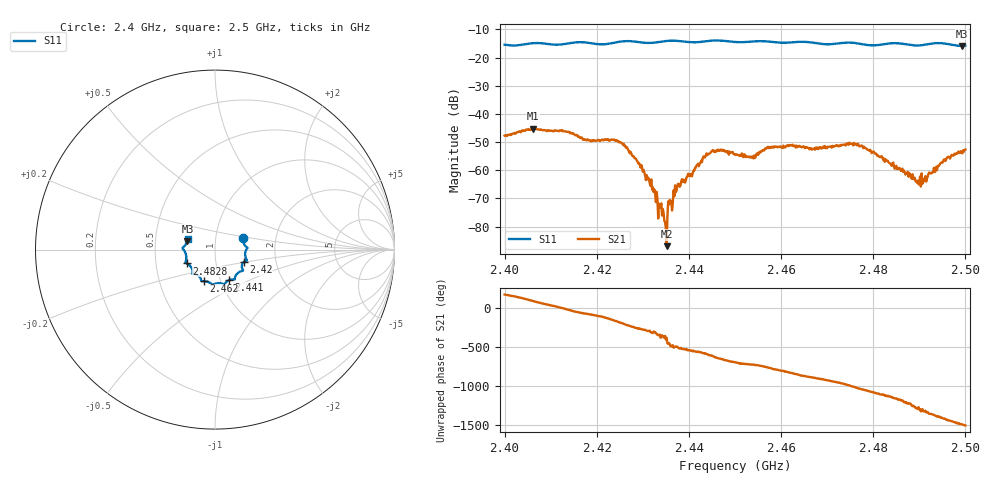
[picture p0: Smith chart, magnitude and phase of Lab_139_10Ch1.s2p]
# Hz S RI R 50
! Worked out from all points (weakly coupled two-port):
!   601 points, 2.4 GHz to 2.5 GHz, reference 50 ohm
!   highest |S21| = -45.21 dB at 2.4062 GHz (marker M1); lowest = -86.9 dB at 2.4352 GHz (marker M2)
!   lowest |S11| = -15.8 dB at 2.4992 GHz (marker M3), VSWR 1.38, Z = 36.5 + j3.66 ohm
!   |S11| at or under -10 dB: start of sweep to end of sweep
!   S12 and S22 are empty: the file has one direction only
!   S11 on the Smith chart (normalised r, x): 2.4 GHz: 1.36, +0.18; 2.42 GHz: 1.36, -0.20; 2.441 GHz: 1.10, -0.39; 2.462 GHz: 0.84, -0.30; 2.4828 GHz: 0.72, -0.11; 2.5 GHz: 0.73, +0.09
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2.4e9  0.1571 0.0632  -0.00401 0.000908  0 0  0 0
2.406167e9  0.1798 0.0117  0.000629 0.00545  0 0  0 0
2.416667e9  0.1779 -0.0598  0.00144 -0.00355  0 0  0 0
2.42e9  0.1594 -0.0695  -0.000789 -0.00325  0 0  0 0
2.426333e9  0.1568 -0.1175  -0.00194 0.00161  0 0  0 0
2.431333e9  0.1239 -0.1329  0.000339 0.000609  0 0  0 0
2.433333e9  0.1124 -0.1508  0.000139 1.39e-05  0 0  0 0
2.434667e9  0.1106 -0.161  0.000111 -6.05e-05  0 0  0 0
2.435167e9  0.1104 -0.1635  3.99e-05 -2.08e-05  0 0  0 0
2.437167e9  0.1083 -0.1671  -0.000329 -0.000242  0 0  0 0
2.441e9  0.0786 -0.1697  -0.000964 0.000212  0 0  0 0
2.444833e9  0.0536 -0.1922  -0.000443 0.00209  0 0  0 0
2.45e9  0.0287 -0.1871  0.00184 0.000561  0 0  0 0
2.453833e9  -0.0059 -0.1935  0.00173 -0.00034  0 0  0 0
2.462e9  -0.0603 -0.1756  -0.00123 -0.00251  0 0  0 0
2.466667e9  -0.0776 -0.1683  -0.00231 -0.000263  0 0  0 0
2.476333e9  -0.1258 -0.1291  0.00174 0.00228  0 0  0 0
2.482833e9  -0.1578 -0.0774  0.000934 -0.0012  0 0  0 0
2.483333e9  -0.1607 -0.076  0.000697 -0.00119  0 0  0 0
2.489833e9  -0.1623 -0.0257  -0.000538 0.000165  0 0  0 0
2.499167e9  -0.1538 0.0488  0.0012 -0.00172  0 0  0 0
2.5e9  -0.1517 0.061  0.000748 -0.00221  0 0  0 0
